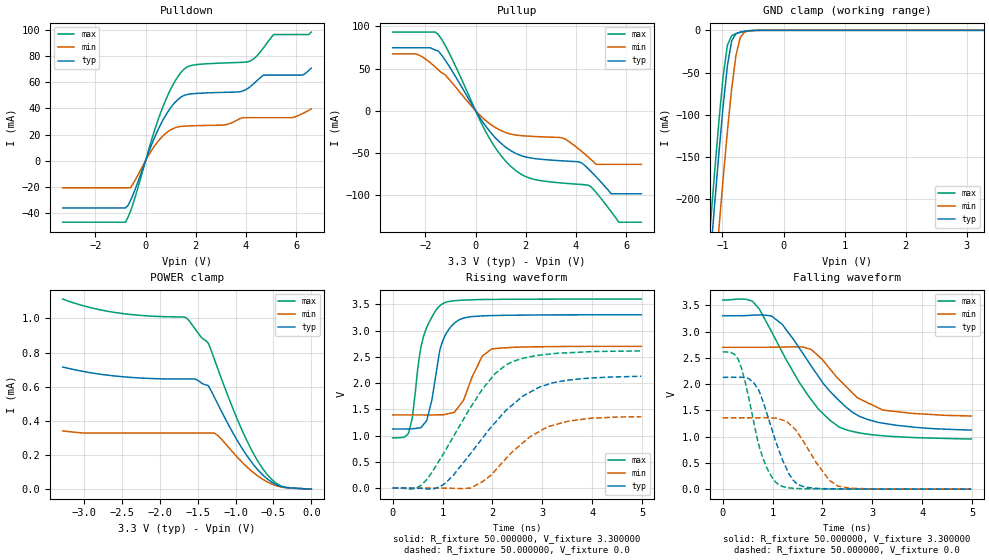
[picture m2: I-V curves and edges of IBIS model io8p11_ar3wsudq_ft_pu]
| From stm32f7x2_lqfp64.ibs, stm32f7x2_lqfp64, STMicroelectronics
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|   Model io8p11_ar3wsudq_ft_pu
[Model]  io8p11_ar3wsudq_ft_pu
Model_type I/O
Polarity   Non-Inverting
Enable   Active-Low
Vinl =   0.990000V
Vinh =   2.310000V
Vmeas =  1.650000V
Cref =   30.000000pF
Rref =   100.000000M
Vref =   0.0V
C_comp   3.843200pF   3.761700pF   3.937000pF
[Temperature Range]   25.000000   0.125000k   -40.000000
[Pullup Reference]   3.300000V   2.700000V   3.600000V
[Pulldown Reference]   0.0V   0.0V   0.0V
[POWER Clamp Reference]   3.300000V   2.700000V   3.600000V
[GND Clamp Reference]   0.0V   0.0V   0.0V
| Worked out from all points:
|   slope of the pulldown table from 0 to 0.495 V, typ, clamps not added: 20.9 ohm
|   slope of the pullup table from 0 to 0.495 V, typ, clamps not added: 22.6 ohm
|   GND clamp passes 1 mA (typ) near -0.62 V on its own axis
|   rising waveform, R_fixture 50.000000, V_fixture 3.300000: 20-80 % time 277ps typ, 352ps min, 277ps max; typ from 1.12 V to 3.3 V
|   rising waveform, R_fixture 50.000000, V_fixture 0.0: 20-80 % time 1.18ns typ, 961ps min, 1.04ns max; typ from 0.001 V to 2.13 V
|   falling waveform, R_fixture 50.000000, V_fixture 3.300000: 20-80 % time 1.07ns typ, 863ps min, 1.02ns max; typ from 3.3 V to 1.12 V
|   falling waveform, R_fixture 50.000000, V_fixture 0.0: 20-80 % time 466ps typ, 565ps min, 398ps max; typ from 2.13 V to 0.001 V
[Pulldown]
|Voltage   I(typ)   I(min)   I(max)
-3.3V     -36.18mA   -20.77mA   -47.07mA
-800mV    -36.18mA   -20.77mA   -47.07mA
-600mV    -30.5mA    -20.52mA   -38.69mA
700mV     31.4mA     19.11mA    41.71mA
1.2V      45.15mA    25.37mA    61.75mA
1.6V      50.35mA    26.5mA     71.06mA
3.1V      52.28mA    27.26mA    74.76mA
4.1V      55.65mA    32.89mA    75.79mA
4.7V      65.5mA     32.89mA    86.49mA
5.1V      65.5mA     32.89mA    96.55mA
6.3V      65.83mA    36.49mA    96.55mA
6.6V      70.88mA    39.7mA     98.4mA
[Pullup]
|Voltage   I(typ)   I(min)   I(max)
-3.3V     74.71mA    67.42mA    93.28mA
-2.3V     74.71mA    66.58mA    93.28mA
-1.5V     71.15mA    49mA       90.77mA
-1V       50.42mA    35.45mA    65.35mA
500mV     -22.06mA   -14mA      -30.03mA
1.6V      -50.64mA   -28.81mA   -70.96mA
3.5V      -59.52mA   -32.72mA   -85.91mA
4.5V      -69.2mA    -55.26mA   -88.43mA
4.8V      -78.36mA   -63.6mA    -97mA
5.4V      -98.5mA    -63.6mA    -119.7mA
5.7V      -98.5mA    -63.6mA    -132.2mA
6.6V      -98.5mA    -63.6mA    -132.2mA
[GND_clamp]
|Voltage   I(typ)   I(min)   I(max)
-3.3V     -2.325A    -2.404A    -2.299A
-1.2V     -270.2mA   -361.4mA   -232.1mA
-1.13V    -207.3mA   -298.1mA   -169mA
-1.06V    -146.7mA   -236.2mA   -108.8mA
-990mV    -90.18mA   -176.4mA   -54.96mA
-920mV    -42.21mA   -120mA     -17.68mA
-850mV    -12.57mA   -69.47mA   -6.265mA
-780mV    -3.971mA   -30.01mA   -3.886mA
-710mV    -2.1mA     -8.615mA   -2.382mA
-640mV    -1.148mA   -2.283mA   -1.22mA
-570mV    -524uA     -821.5uA   -476.8uA
3.28V     0A         0A         0A
[POWER_clamp]
|Voltage   I(typ)   I(min)   I(max)
-3.28V    715.1uA    340.8uA    1.113mA
-2.6V     662.9uA    328.8uA    1.035mA
-1.64V    645uA      328.8uA    1mA
-1.52V    643.3uA    328.8uA    929.5uA
-1.36V    606.3uA    328.8uA    855.6uA
-1.24V    503.7uA    316.8uA    712.3uA
-960mV    272.5uA    179.4uA    391.9uA
-800mV    165.1uA    110.4uA    239.2uA
-640mV    83.2uA     57.57uA    119.3uA
-520mV    40.52uA    29.83uA    56.09uA
-400mV    15.54uA    13.29uA    18.7uA
0V        0A         0A         0A
[Ramp]
| variable   typ   min   max
dV/dt_r  1.25875/1.16604n   0.80019/0.94572n   1.56010/1.04197n
dV/dt_f  1.27428/1.04940n   0.76752/0.84517n   1.56854/1.01586n
R_load = 50.000000
[Rising Waveform]
R_fixture= 50.000000
V_fixture= 3.300000
V_fixture_min= 2.700000
V_fixture_max= 3.600000
|time   V(typ)   V(min)   V(max)
0s        1.125V     1.393V     955.6mV
320.3ps   1.127V     1.393V     1.057V
390.4ps   1.129V     1.393V     1.326V
560.6ps   1.149V     1.393V     2.647V
680.7ps   1.283V     1.393V     3.056V
1.011ns   2.82V      1.396V     3.515V
1.421ns   3.236V     1.676V     3.58V
1.792ns   3.278V     2.507V     3.591V
1.982ns   3.284V     2.649V     3.592V
4.985ns   3.3V       2.7V       3.599V
[Rising Waveform]
R_fixture= 50.000000
V_fixture= 0.0
V_fixture_min= 0.0
V_fixture_max= 0.0
|time   V(typ)   V(min)   V(max)
0s        1.433mV    1.239mV    1.787mV
570.6ps   -6.138mV   1.229mV    54.34mV
840.8ps   -9.86mV    894.5uV    382.8mV
1.061ns   98.44mV    -1.345mV   725.5mV
1.562ns   658.1mV    1.247mV    1.537V
2.052ns   1.246V     330.3mV    2.178V
2.352ns   1.545V     645mV      2.385V
3.113ns   1.976V     1.17V      2.548V
3.994ns   2.097V     1.333V     2.599V
4.985ns   2.129V     1.359V     2.612V
[Falling Waveform]
R_fixture= 50.000000
V_fixture= 3.300000
V_fixture_min= 2.700000
V_fixture_max= 3.600000
|time   V(typ)   V(min)   V(max)
0s        3.3V       2.7V       3.599V
600.6ps   3.311V     2.7V       3.573V
740.7ps   3.316V     2.7V       3.416V
981ps     3.294V     2.701V     2.994V
1.201ns   3.126V     2.704V     2.594V
1.772ns   2.347V     2.659V     1.708V
2.332ns   1.688V     2.088V     1.186V
2.703ns   1.407V     1.738V     1.08V
3.213ns   1.257V     1.505V     1.017V
4.985ns   1.125V     1.393V     955.6mV
[Falling Waveform]
R_fixture= 50.000000
V_fixture= 0.0
V_fixture_min= 0.0
V_fixture_max= 0.0
|time   V(typ)   V(min)   V(max)
0s        2.129V     1.359V     2.612V
310.3ps   2.13V      1.359V     2.473V
470.5ps   2.117V     1.359V     1.965V
630.6ps   2.016V     1.359V     1.24V
880.9ps   1.456V     1.36V      416mV
1.131ns   731.6mV    1.339V     83.11mV
1.502ns   97.45mV    1.075V     13.98mV
2.132ns   8.951mV    176.6mV    4.432mV
2.312ns   6.693mV    61.01mV    4.047mV
4.985ns   1.433mV    1.239mV    1.787mV
